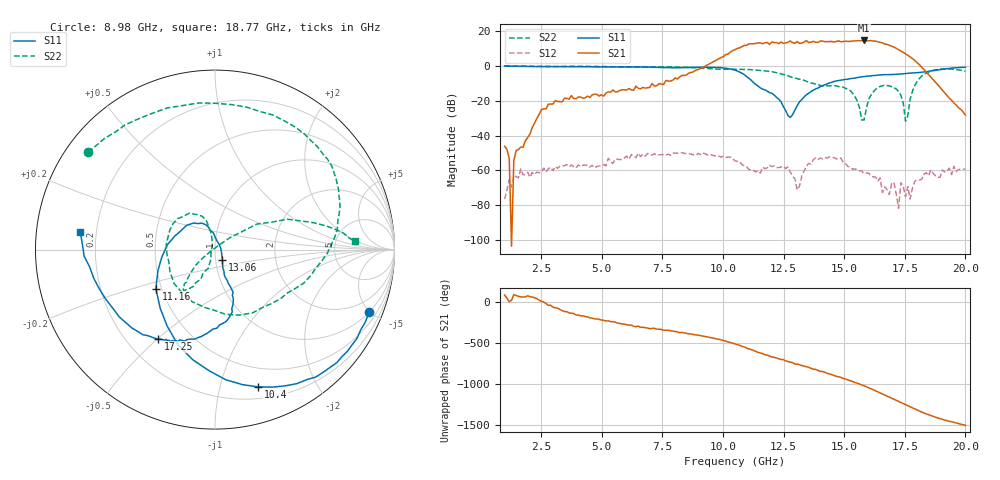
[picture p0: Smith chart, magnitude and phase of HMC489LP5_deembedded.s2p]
!Hittite Microwave Corporation
!20 Alpha Road
!Chelmsford, MA 01824
!Tel: 978-250-3343
!Fax: 978-250-3373
!Device: HMC489LP5, 12-16 GHz, GaAS PHEMT MMIC 1 Watt Power Amplifier in Leadless 5x5 mm SMT Package
!Misc: Vdd1,2,3,4,5 = +7 V, Idd = 1300 mA, Room
# MHZ S MA R 50
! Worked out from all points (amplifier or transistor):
!   201 points, 1 GHz to 20 GHz, reference 50 ohm
!   highest |S21| = 14.8 dB at 15.82 GHz (marker M1)
!   |S21| within 3 dB of that: 10.86 GHz to 16.9 GHz (6.04 GHz wide, 43.5 % of centre)
!   unconditionally stable (mu >= 1): 1.813 GHz to end of sweep
!   at 4.135 GHz: K = 4.61, MAG = 10.4 dB, |S12| = -57.9 dB
!   at 10.5 GHz: K = 11.81, MAG = 18.3 dB, |S12| = -54.6 dB
!   at 20 GHz: K = 763.49, MAG = -16.3 dB, |S12| = -59.2 dB
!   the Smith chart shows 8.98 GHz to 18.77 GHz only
!   S11 on the Smith chart (normalised r, x): 8.98 GHz: 0.99, -4.91; 10.4 GHz: 0.31, -1.31; 11.16 GHz: 0.46, -0.24; 13.06 GHz: 1.08, -0.13; 17.25 GHz: 0.33, -0.50; 18.77 GHz: 0.14, +0.06
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1000  1.009 -41.0  0.004871 86.8  0.0001468 111.1  1.011 -23.3
1285  1 -53.0  6.448e-06 23.1  0.0003273 134.1  1.009 -30.2
2520  0.971 -102.6  0.056 9.7  0.0008816 57.6  0.983 -62.1
4230  0.969 -172.2  0.119 -167.6  0.001404 5.3  0.986 -95.3
7365  0.921 60.3  0.314 29.0  0.002767 -79.5  0.956 169.7
8980  0.927 -22.2  0.801 -44.4  0.003041 -130.5  0.892 142.5
10405  0.801 -72.6  2.826 -141.5  0.002151 161.1  0.815 61.5
10500  0.768 -78.5  2.982 -150.7  0.001855 151.3  0.816 56.8
11165  0.395 -146.6  4.405 140.3  0.001004 138.7  0.79 33.0
11830  0.19 128.8  4.828 74.7  0.001174 157.4  0.717 15.6
12400  0.094 95.3  4.965 18.6  0.001246 116.9  0.598 -6.1
13065  0.073 -55.4  5.108 -36.1  0.000268 -72.7  0.435 -43.9
13730  0.203 -68.6  5.179 -98.6  0.002023 -178.9  0.317 -113.8
14775  0.385 -78.0  5.366 167.8  0.002311 83.3  0.257 134.6
15345  0.443 -91.5  5.299 109.7  0.001073 58.9  0.167 106.5
15820  0.499 -100.8  5.507 57.2  0.0007941 47.0  0.028 -142.0
16295  0.539 -111.2  5.281 -4.0  0.0006336 33.0  0.214 -120.2
16865  0.572 -118.1  3.983 -80.9  0.0001992 -11.6  0.271 -129.8
17245  0.59 -122.4  3.005 -133.4  7.978e-05 -136.2  0.186 -136.2
17910  0.642 -140.5  1.472 135.8  0.0004701 173.2  0.272 31.5
18765  0.757 172.6  0.346 33.8  0.0006867 159.2  0.782 3.4
20000  0.931 139.8  0.039 -67.0  0.001099 162.4  0.713 -50.5
